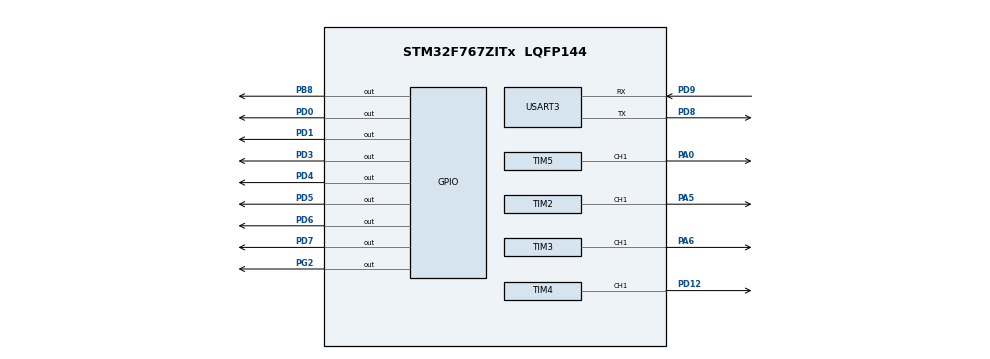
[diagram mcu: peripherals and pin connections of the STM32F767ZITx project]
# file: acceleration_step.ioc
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CORTEX_M7.default_mode_Activation=1
FREERTOS.Tasks01=defaultTask,24,128,StartDefaultTask,Default,NULL,Dynamic,NULL,NULL;myTask02,24,128,StartTask02,Default,NULL,Dynamic,NULL,NULL
FREERTOS.configUSE_NEWLIB_REENTRANT=1
Mcu.Family=STM32F7
Mcu.Name=STM32F767ZITx
Mcu.Package=LQFP144
NVIC.PriorityGroup=NVIC_PRIORITYGROUP_4
NVIC.TIM2_IRQn=true\:5\:0\:false\:false\:true\:true\:true\:true\:true
NVIC.TIM3_IRQn=true\:5\:0\:false\:false\:true\:true\:true\:true\:true
NVIC.TIM4_IRQn=true\:5\:0\:false\:false\:true\:true\:true\:true\:true
NVIC.TIM5_IRQn=true\:5\:0\:false\:false\:true\:true\:true\:true\:true
NVIC.TIM6_DAC_IRQn=true\:15\:0\:false\:false\:true\:false\:false\:true\:true
NVIC.TimeBase=TIM6_DAC_IRQn
NVIC.TimeBaseIP=TIM6
NVIC.USART3_IRQn=true\:5\:0\:false\:false\:true\:true\:true\:true\:true
PA0/WKUP.Signal=S_TIM5_CH1
PA5.Signal=S_TIM2_CH1_ETR
PA6.Signal=S_TIM3_CH1
PB8.GPIO_PuPd=GPIO_PULLUP
PB8.GPIO_Speed=GPIO_SPEED_FREQ_HIGH
PB8.Signal=GPIO_Output
PD0.GPIO_PuPd=GPIO_PULLUP
PD0.GPIO_Speed=GPIO_SPEED_FREQ_HIGH
PD0.Signal=GPIO_Output
PD1.GPIO_PuPd=GPIO_PULLUP
PD1.GPIO_Speed=GPIO_SPEED_FREQ_HIGH
PD1.Signal=GPIO_Output
PD12.Signal=S_TIM4_CH1
PD3.GPIO_PuPd=GPIO_PULLUP
PD3.GPIO_Speed=GPIO_SPEED_FREQ_HIGH
PD3.Signal=GPIO_Output
PD4.GPIO_PuPd=GPIO_PULLUP
PD4.GPIO_Speed=GPIO_SPEED_FREQ_HIGH
PD4.Signal=GPIO_Output
PD5.GPIO_PuPd=GPIO_PULLUP
PD5.GPIO_Speed=GPIO_SPEED_FREQ_HIGH
PD5.Signal=GPIO_Output
PD6.GPIO_PuPd=GPIO_PULLUP
PD6.GPIO_Speed=GPIO_SPEED_FREQ_HIGH
PD6.Signal=GPIO_Output
PD7.GPIO_PuPd=GPIO_PULLUP
PD7.GPIO_Speed=GPIO_SPEED_FREQ_HIGH
PD7.Signal=GPIO_Output
PD8.Mode=Asynchronous
PD8.Signal=USART3_TX
PD9.Mode=Asynchronous
PD9.Signal=USART3_RX
PG2.Signal=GPIO_Output
ProjectManager.HeapSize=0x200
ProjectManager.StackSize=0x400
ProjectManager.TargetToolchain=STM32CubeIDE
RCC.HSE_VALUE=25000000
RCC.HSI_VALUE=16000000
RCC.LSE_VALUE=32768
RCC.USBFreq_Value=96000000
RCC.VCOOutputFreq_Value=192000000
SH.S_TIM2_CH1_ETR.0=TIM2_CH1,PWM Generation1 CH1
SH.S_TIM3_CH1.0=TIM3_CH1,PWM Generation1 CH1
SH.S_TIM4_CH1.0=TIM4_CH1,PWM Generation1 CH1
SH.S_TIM5_CH1.0=TIM5_CH1,PWM Generation1 CH1
TIM2.Channel-PWM\ Generation1\ CH1=TIM_CHANNEL_1
TIM2.Period=1999
TIM2.Prescaler=15
TIM2.Pulse-PWM\ Generation1\ CH1=999
TIM3.Channel-PWM\ Generation1\ CH1=TIM_CHANNEL_1
TIM3.Period=1999
TIM3.Prescaler=15
TIM3.Pulse-PWM\ Generation1\ CH1=999
TIM4.Channel-PWM\ Generation1\ CH1=TIM_CHANNEL_1
TIM4.Period=1999
TIM4.Prescaler=15
TIM4.Pulse-PWM\ Generation1\ CH1=999
TIM5.Channel-PWM\ Generation1\ CH1=TIM_CHANNEL_1
TIM5.Period=1999
TIM5.Prescaler=15
TIM5.Pulse-PWM\ Generation1\ CH1=999
TIM5.TIM_MasterSlaveMode=TIM_MASTERSLAVEMODE_DISABLE
USART3.VirtualMode-Asynchronous=VM_ASYNC
VP_FREERTOS_VS_CMSIS_V2.Mode=CMSIS_V2
VP_SYS_VS_tim6.Mode=TIM6
VP_TIM2_VS_ClockSourceINT.Mode=Internal
VP_TIM3_VS_ClockSourceINT.Mode=Internal
VP_TIM4_VS_ClockSourceINT.Mode=Internal
VP_TIM5_VS_ClockSourceINT.Mode=Internal
board=custom

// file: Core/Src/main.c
/* USER CODE BEGIN Header */
/**
  ******************************************************************************
  * @file           : main.c
  * @brief          : Main program body
  ******************************************************************************
  * @attention
  *
  * Copyright (c) 2026 STMicroelectronics.
  * All rights reserved.
  *
  * This software is licensed under terms that can be found in the LICENSE file
  * in the root directory of this software component.
  * If no LICENSE file comes with this software, it is provided AS-IS.
  *
  ******************************************************************************
  */
/* USER CODE END Header */
#include "main.h"
#include "cmsis_os.h"

/* USER CODE BEGIN Includes */
#include "stdio.h"
/* USER CODE END Includes */

/* USER CODE BEGIN PTD */
//typedef struct {
//    uint32_t arr_slow;     // 시작(저속) ARR
//    uint32_t arr_fast;     // 최대(고속) ARR
//    uint32_t ramp_steps;   // 가속/감속에 쓸 스텝 수
//    uint32_t total_steps;  // 이번 이동 총 스텝
//    uint32_t arr_cur;      // 현재 ARR
//} Ramp_t;
typedef struct {
    uint32_t arr_slow;
    uint32_t arr_fast;
    uint32_t ramp_steps;

    uint32_t total_steps;
    uint32_t arr_cur;

    uint32_t diff;         // slow-fast
    uint32_t slope_q16;    // (diff<<16)/R  : 이동 시작 시 1회 계산
} Ramp_t;
/* USER CODE END PTD */

/* USER CODE BEGIN PD */
#define STEPS_PER_REV   (1600U)

#define BELT_PITCH_MM        (3.0f)    // GT2면 2.0mm
#define PULLEY_TEETH         (20.0f)   // 예: 20T, 30T 등
/* USER CODE END PD */

TIM_HandleTypeDef htim2;
TIM_HandleTypeDef htim3;
TIM_HandleTypeDef htim4;
TIM_HandleTypeDef htim5;

UART_HandleTypeDef huart3;

/* Definitions for defaultTask */
osThreadId_t defaultTaskHandle;
const osThreadAttr_t defaultTask_attributes = {
  .name = "defaultTask",
  .stack_size = 128 * 4,
  .priority = (osPriority_t) osPriorityNormal,
};
/* Definitions for myTask02 */
osThreadId_t myTask02Handle;
const osThreadAttr_t myTask02_attributes = {
  .name = "myTask02",
  .stack_size = 128 * 4,
  .priority = (osPriority_t) osPriorityNormal,
};
/* USER CODE BEGIN PV */
volatile uint32_t step_count_tim2 = 0;
volatile uint32_t step_count_tim3 = 0;
volatile uint32_t step_count_tim4 = 0;
volatile uint32_t step_count_tim5 = 0;

volatile uint32_t step_target_tim2 = 0;
volatile uint32_t step_target_tim3 = 0;
volatile uint32_t step_target_tim4 = 0;
volatile uint32_t step_target_tim5 = 0;

volatile uint8_t  tim2_running = 0;
volatile uint8_t  tim3_running = 0;
volatile uint8_t  tim4_running = 0;
volatile uint8_t  tim5_running = 0;

// 현재 좌표 저장 및 이동 플래그
volatile int32_t cur_x_mm = 0;
volatile int32_t cur_y_mm = 0;
volatile int32_t cur_z_mm = 0;

volatile int32_t pending_dx_mm = 0;
volatile int32_t pending_dy_mm = 0;
volatile int32_t pending_dz_mm = 0;

volatile uint8_t move_in_progress = 0;

/*가속을 위한 변수*/
volatile Ramp_t ramp_x = { .arr_slow=1999, .arr_fast=199, .ramp_steps=400 }; // 249, 400
volatile Ramp_t ramp_y = { .arr_slow=1999, .arr_fast=199, .ramp_steps=400 };
volatile Ramp_t ramp_z = { .arr_slow=1999, .arr_fast=199, .ramp_steps=400 };

// UART 좌표 통신 =======================================
static uint8_t  rx_ch;

static char     rx_line[64];
static uint32_t rx_idx = 0;

/* 파싱된 좌표 전달용 */
volatile int32_t uart_x, uart_y, uart_z;
volatile uint8_t uart_cmd_ready = 0;
/* USER CODE END PV */

void SystemClock_Config(void);
static void MPU_Config(void);
static void MX_GPIO_Init(void);
static void MX_TIM2_Init(void);
static void MX_TIM3_Init(void);
static void MX_TIM4_Init(void);
static void MX_TIM5_Init(void);
static void MX_USART3_UART_Init(void);
void StartDefaultTask(void *argument);
void StartTask02(void *argument);

/* USER CODE BEGIN PFP */
static inline uint32_t mm_to_steps(float mm);

static void start_x_move_mm(int32_t dx_mm);
static void start_y_move_mm(int32_t dy_mm);
static void start_z_move_mm(int32_t dz_mm);

static void update_motion_done(void);

void MoveToXYZ_mm(int32_t x_mm, int32_t y_mm, int32_t z_mm);

// 가속 함수
static inline void tim_set_arr_ccr50(TIM_HandleTypeDef *htim, uint32_t arr);
static inline void ramp_update(volatile Ramp_t *r, uint32_t step_now, TIM_HandleTypeDef *htim);

// 최적화
static inline void ramp_prepare(volatile Ramp_t *r, uint32_t total_steps);
static inline void ramp_update_fast(volatile Ramp_t *r, uint32_t step_now, TIM_HandleTypeDef *htim);
//static inline void motion_finish_if_all_done_from_isr(void);

/* USER CODE END PFP */

int main(void)
{

  /* MPU Configuration--------------------------------------------------------*/
  MPU_Config();

  /* MCU Configuration--------------------------------------------------------*/

  /* Reset of all peripherals, Initializes the Flash interface and the Systick. */
  HAL_Init();

  /* Configure the system clock */
  SystemClock_Config();

  /* Initialize all configured peripherals */
  MX_GPIO_Init();
  MX_TIM2_Init();
  MX_TIM3_Init();
  MX_TIM4_Init();
  MX_TIM5_Init();
  MX_USART3_UART_Init();
  /* USER CODE BEGIN 2 */
  HAL_UART_Receive_IT(&huart3, &rx_ch, 1);
  // Y1
  HAL_GPIO_WritePin(GPIOD, GPIO_PIN_0, GPIO_PIN_RESET);  // ena
  // Y2
  HAL_GPIO_WritePin(GPIOG, GPIO_PIN_2, GPIO_PIN_RESET);  // ena
  // X
  HAL_GPIO_WritePin(GPIOD, GPIO_PIN_4, GPIO_PIN_RESET);  // ena
  // Z
  HAL_GPIO_WritePin(GPIOD, GPIO_PIN_6, GPIO_PIN_RESET);  // ena

  /* USER CODE END 2 */

  /* Init scheduler */
  osKernelInitialize();

  /* Create the thread(s) */
  /* creation of defaultTask */
  defaultTaskHandle = osThreadNew(StartDefaultTask, NULL, &defaultTask_attributes);

  /* creation of myTask02 */
  myTask02Handle = osThreadNew(StartTask02, NULL, &myTask02_attributes);

  /* Start scheduler */
  osKernelStart();

  /* We should never get here as control is now taken by the scheduler */

  /* Infinite loop */
  while (1)
  {

  }
}

void SystemClock_Config(void)
{
  RCC_OscInitTypeDef RCC_OscInitStruct = {0};
  RCC_ClkInitTypeDef RCC_ClkInitStruct = {0};

  /** Configure the main internal regulator output voltage
  */
  __HAL_RCC_PWR_CLK_ENABLE();
  __HAL_PWR_VOLTAGESCALING_CONFIG(PWR_REGULATOR_VOLTAGE_SCALE3);

  /** Initializes the RCC Oscillators according to the specified parameters
  * in the RCC_OscInitTypeDef structure.
  */
  RCC_OscInitStruct.OscillatorType = RCC_OSCILLATORTYPE_HSI;
  RCC_OscInitStruct.HSIState = RCC_HSI_ON;
  RCC_OscInitStruct.HSICalibrationValue = RCC_HSICALIBRATION_DEFAULT;
  RCC_OscInitStruct.PLL.PLLState = RCC_PLL_NONE;
  if (HAL_RCC_OscConfig(&RCC_OscInitStruct) != HAL_OK)
  {
    Error_Handler();
  }

  /** Initializes the CPU, AHB and APB buses clocks
  */
  RCC_ClkInitStruct.ClockType = RCC_CLOCKTYPE_HCLK|RCC_CLOCKTYPE_SYSCLK
                              |RCC_CLOCKTYPE_PCLK1|RCC_CLOCKTYPE_PCLK2;
  RCC_ClkInitStruct.SYSCLKSource = RCC_SYSCLKSOURCE_HSI;
  RCC_ClkInitStruct.AHBCLKDivider = RCC_SYSCLK_DIV1;
  RCC_ClkInitStruct.APB1CLKDivider = RCC_HCLK_DIV1;
  RCC_ClkInitStruct.APB2CLKDivider = RCC_HCLK_DIV1;

  if (HAL_RCC_ClockConfig(&RCC_ClkInitStruct, FLASH_LATENCY_0) != HAL_OK)
  {
    Error_Handler();
  }
}

static void MX_TIM2_Init(void)
{

  TIM_ClockConfigTypeDef sClockSourceConfig = {0};
  TIM_MasterConfigTypeDef sMasterConfig = {0};
  TIM_OC_InitTypeDef sConfigOC = {0};

  htim2.Instance = TIM2;
  htim2.Init.Prescaler = 15;
  htim2.Init.CounterMode = TIM_COUNTERMODE_UP;
  htim2.Init.Period = 1999;
  htim2.Init.ClockDivision = TIM_CLOCKDIVISION_DIV1;
  htim2.Init.AutoReloadPreload = TIM_AUTORELOAD_PRELOAD_DISABLE;
  if (HAL_TIM_Base_Init(&htim2) != HAL_OK)
  {
    Error_Handler();
  }
  sClockSourceConfig.ClockSource = TIM_CLOCKSOURCE_INTERNAL;
  if (HAL_TIM_ConfigClockSource(&htim2, &sClockSourceConfig) != HAL_OK)
  {
    Error_Handler();
  }
  if (HAL_TIM_PWM_Init(&htim2) != HAL_OK)
  {
    Error_Handler();
  }
  sMasterConfig.MasterOutputTrigger = TIM_TRGO_RESET;
  sMasterConfig.MasterSlaveMode = TIM_MASTERSLAVEMODE_DISABLE;
  if (HAL_TIMEx_MasterConfigSynchronization(&htim2, &sMasterConfig) != HAL_OK)
  {
    Error_Handler();
  }
  sConfigOC.OCMode = TIM_OCMODE_PWM1;
  sConfigOC.Pulse = 999;
  sConfigOC.OCPolarity = TIM_OCPOLARITY_HIGH;
  sConfigOC.OCFastMode = TIM_OCFAST_DISABLE;
  if (HAL_TIM_PWM_ConfigChannel(&htim2, &sConfigOC, TIM_CHANNEL_1) != HAL_OK)
  {
    Error_Handler();
  }
  HAL_TIM_MspPostInit(&htim2);

}

static void MX_TIM3_Init(void)
{

  TIM_ClockConfigTypeDef sClockSourceConfig = {0};
  TIM_MasterConfigTypeDef sMasterConfig = {0};
  TIM_OC_InitTypeDef sConfigOC = {0};

  htim3.Instance = TIM3;
  htim3.Init.Prescaler = 15;
  htim3.Init.CounterMode = TIM_COUNTERMODE_UP;
  htim3.Init.Period = 1999;
  htim3.Init.ClockDivision = TIM_CLOCKDIVISION_DIV1;
  htim3.Init.AutoReloadPreload = TIM_AUTORELOAD_PRELOAD_DISABLE;
  if (HAL_TIM_Base_Init(&htim3) != HAL_OK)
  {
    Error_Handler();
  }
  sClockSourceConfig.ClockSource = TIM_CLOCKSOURCE_INTERNAL;
  if (HAL_TIM_ConfigClockSource(&htim3, &sClockSourceConfig) != HAL_OK)
  {
    Error_Handler();
  }
  if (HAL_TIM_PWM_Init(&htim3) != HAL_OK)
  {
    Error_Handler();
  }
  sMasterConfig.MasterOutputTrigger = TIM_TRGO_RESET;
  sMasterConfig.MasterSlaveMode = TIM_MASTERSLAVEMODE_DISABLE;
  if (HAL_TIMEx_MasterConfigSynchronization(&htim3, &sMasterConfig) != HAL_OK)
  {
    Error_Handler();
  }
  sConfigOC.OCMode = TIM_OCMODE_PWM1;
  sConfigOC.Pulse = 999;
  sConfigOC.OCPolarity = TIM_OCPOLARITY_HIGH;
  sConfigOC.OCFastMode = TIM_OCFAST_DISABLE;
  if (HAL_TIM_PWM_ConfigChannel(&htim3, &sConfigOC, TIM_CHANNEL_1) != HAL_OK)
  {
    Error_Handler();
  }
  HAL_TIM_MspPostInit(&htim3);

}

static void MX_TIM4_Init(void)
{

  TIM_ClockConfigTypeDef sClockSourceConfig = {0};
  TIM_MasterConfigTypeDef sMasterConfig = {0};
  TIM_OC_InitTypeDef sConfigOC = {0};

  htim4.Instance = TIM4;
  htim4.Init.Prescaler = 15;
  htim4.Init.CounterMode = TIM_COUNTERMODE_UP;
  htim4.Init.Period = 1999;
  htim4.Init.ClockDivision = TIM_CLOCKDIVISION_DIV1;
  htim4.Init.AutoReloadPreload = TIM_AUTORELOAD_PRELOAD_DISABLE;
  if (HAL_TIM_Base_Init(&htim4) != HAL_OK)
  {
    Error_Handler();
  }
  sClockSourceConfig.ClockSource = TIM_CLOCKSOURCE_INTERNAL;
  if (HAL_TIM_ConfigClockSource(&htim4, &sClockSourceConfig) != HAL_OK)
  {
    Error_Handler();
  }
  if (HAL_TIM_PWM_Init(&htim4) != HAL_OK)
  {
    Error_Handler();
  }
  sMasterConfig.MasterOutputTrigger = TIM_TRGO_RESET;
  sMasterConfig.MasterSlaveMode = TIM_MASTERSLAVEMODE_DISABLE;
  if (HAL_TIMEx_MasterConfigSynchronization(&htim4, &sMasterConfig) != HAL_OK)
  {
    Error_Handler();
  }
  sConfigOC.OCMode = TIM_OCMODE_PWM1;
  sConfigOC.Pulse = 999;
  sConfigOC.OCPolarity = TIM_OCPOLARITY_HIGH;
  sConfigOC.OCFastMode = TIM_OCFAST_DISABLE;
  if (HAL_TIM_PWM_ConfigChannel(&htim4, &sConfigOC, TIM_CHANNEL_1) != HAL_OK)
  {
    Error_Handler();
  }
  HAL_TIM_MspPostInit(&htim4);

}

static void MX_TIM5_Init(void)
{

  TIM_ClockConfigTypeDef sClockSourceConfig = {0};
  TIM_MasterConfigTypeDef sMasterConfig = {0};
  TIM_OC_InitTypeDef sConfigOC = {0};

  htim5.Instance = TIM5;
  htim5.Init.Prescaler = 15;
  htim5.Init.CounterMode = TIM_COUNTERMODE_UP;
  htim5.Init.Period = 1999;
  htim5.Init.ClockDivision = TIM_CLOCKDIVISION_DIV1;
  htim5.Init.AutoReloadPreload = TIM_AUTORELOAD_PRELOAD_DISABLE;
  if (HAL_TIM_Base_Init(&htim5) != HAL_OK)
  {
    Error_Handler();
  }
  sClockSourceConfig.ClockSource = TIM_CLOCKSOURCE_INTERNAL;
  if (HAL_TIM_ConfigClockSource(&htim5, &sClockSourceConfig) != HAL_OK)
  {
    Error_Handler();
  }
  if (HAL_TIM_PWM_Init(&htim5) != HAL_OK)
  {
    Error_Handler();
  }
  sMasterConfig.MasterOutputTrigger = TIM_TRGO_RESET;
  sMasterConfig.MasterSlaveMode = TIM_MASTERSLAVEMODE_DISABLE;
  if (HAL_TIMEx_MasterConfigSynchronization(&htim5, &sMasterConfig) != HAL_OK)
  {
    Error_Handler();
  }
  sConfigOC.OCMode = TIM_OCMODE_PWM1;
  sConfigOC.Pulse = 999;
  sConfigOC.OCPolarity = TIM_OCPOLARITY_HIGH;
  sConfigOC.OCFastMode = TIM_OCFAST_DISABLE;
  if (HAL_TIM_PWM_ConfigChannel(&htim5, &sConfigOC, TIM_CHANNEL_1) != HAL_OK)
  {
    Error_Handler();
  }
  HAL_TIM_MspPostInit(&htim5);

}

static void MX_USART3_UART_Init(void)
{

  huart3.Instance = USART3;
  huart3.Init.BaudRate = 115200;
  huart3.Init.WordLength = UART_WORDLENGTH_8B;
  huart3.Init.StopBits = UART_STOPBITS_1;
  huart3.Init.Parity = UART_PARITY_NONE;
  huart3.Init.Mode = UART_MODE_TX_RX;
  huart3.Init.HwFlowCtl = UART_HWCONTROL_NONE;
  huart3.Init.OverSampling = UART_OVERSAMPLING_16;
  huart3.Init.OneBitSampling = UART_ONE_BIT_SAMPLE_DISABLE;
  huart3.AdvancedInit.AdvFeatureInit = UART_ADVFEATURE_NO_INIT;
  if (HAL_UART_Init(&huart3) != HAL_OK)
  {
    Error_Handler();
  }

}

static void MX_GPIO_Init(void)
{
  GPIO_InitTypeDef GPIO_InitStruct = {0};

  /* GPIO Ports Clock Enable */
  __HAL_RCC_GPIOA_CLK_ENABLE();
  __HAL_RCC_GPIOD_CLK_ENABLE();
  __HAL_RCC_GPIOG_CLK_ENABLE();
  __HAL_RCC_GPIOB_CLK_ENABLE();

  /*Configure GPIO pin Output Level */
  HAL_GPIO_WritePin(GPIOG, GPIO_PIN_2, GPIO_PIN_RESET);

  /*Configure GPIO pin Output Level */
  HAL_GPIO_WritePin(GPIOD, GPIO_PIN_0|GPIO_PIN_1|GPIO_PIN_3|GPIO_PIN_4
                          |GPIO_PIN_5|GPIO_PIN_6|GPIO_PIN_7, GPIO_PIN_RESET);

  /*Configure GPIO pin Output Level */
  HAL_GPIO_WritePin(GPIOB, GPIO_PIN_8, GPIO_PIN_RESET);

  /*Configure GPIO pin : PG2 */
  GPIO_InitStruct.Pin = GPIO_PIN_2;
  GPIO_InitStruct.Mode = GPIO_MODE_OUTPUT_PP;
  GPIO_InitStruct.Pull = GPIO_NOPULL;
  GPIO_InitStruct.Speed = GPIO_SPEED_FREQ_LOW;
  HAL_GPIO_Init(GPIOG, &GPIO_InitStruct);

  /*Configure GPIO pins : PD0 PD1 PD3 PD4
                           PD5 PD6 PD7 */
  GPIO_InitStruct.Pin = GPIO_PIN_0|GPIO_PIN_1|GPIO_PIN_3|GPIO_PIN_4
                          |GPIO_PIN_5|GPIO_PIN_6|GPIO_PIN_7;
  GPIO_InitStruct.Mode = GPIO_MODE_OUTPUT_PP;
  GPIO_InitStruct.Pull = GPIO_PULLUP;
  GPIO_InitStruct.Speed = GPIO_SPEED_FREQ_HIGH;
  HAL_GPIO_Init(GPIOD, &GPIO_InitStruct);

  /*Configure GPIO pin : PB8 */
  GPIO_InitStruct.Pin = GPIO_PIN_8;
  GPIO_InitStruct.Mode = GPIO_MODE_OUTPUT_PP;
  GPIO_InitStruct.Pull = GPIO_PULLUP;
  GPIO_InitStruct.Speed = GPIO_SPEED_FREQ_HIGH;
  HAL_GPIO_Init(GPIOB, &GPIO_InitStruct);

}

/* USER CODE BEGIN 4 */
// mm 최적화
//static inline uint32_t mm_to_steps_u32(uint32_t mm_u32)
//{
//    const float mm_per_rev   = (BELT_PITCH_MM * PULLEY_TEETH);
//    const float steps_per_mm = ((float)STEPS_PER_REV) / mm_per_rev;
//
//    float steps_f = (float)mm_u32 * steps_per_mm;
//    uint32_t steps = (uint32_t)(steps_f + 0.5f);
//    return (steps == 0U) ? 1U : steps;
//}

/* 이동 완료 체크 + 좌표 갱신은 Task에서 폴링해서 처리 */
static void update_motion_done(void)
{
	if (!move_in_progress) return;

	// X: TIM4, Y: TIM3+TIM5 모두 끝났는지
	if ((tim2_running == 0) && (tim3_running == 0) && (tim4_running == 0) && (tim5_running == 0))
	{
		cur_x_mm += pending_dx_mm;
		cur_y_mm += pending_dy_mm;
		cur_z_mm += pending_dz_mm;

		pending_dx_mm = 0;
		pending_dy_mm = 0;
		pending_dz_mm = 0;

		move_in_progress = 0;
	}
}

/* x,y 좌표 자유롭게 이동*/
static inline uint32_t mm_to_steps(float mm)
{
    const float mm_per_rev   = (BELT_PITCH_MM * PULLEY_TEETH);
    const float steps_per_mm = ((float)STEPS_PER_REV) / mm_per_rev;
    float steps_f = mm * steps_per_mm;

    uint32_t steps = (uint32_t)(steps_f + 0.5f);
    if (steps == 0) steps = 1;
    return steps;
}

// ---- x축 구동: TIM4
static void start_x_move_mm(int32_t dx_mm)
{
	HAL_TIM_Base_Stop_IT(&htim4);
	HAL_TIM_PWM_Stop(&htim4, TIM_CHANNEL_1);
    if (dx_mm == 0) {
        tim4_running = 0;

        return;
    }

    uint32_t adx = (dx_mm >= 0) ? (uint32_t)dx_mm : (uint32_t)(-dx_mm);
    uint32_t steps = mm_to_steps((float)adx);
    step_target_tim4 = steps;

    step_count_tim4 = 0;
    tim4_running = 1;

    if (dx_mm > 0) {
        // ===== X+ (오른쪽) =====
        // 너가 말한 규칙: X+는 PD1 = SET
        HAL_GPIO_WritePin(GPIOD, GPIO_PIN_5, GPIO_PIN_SET);  // dir
    } else {
        // ===== X- (왼쪽) =====
        HAL_GPIO_WritePin(GPIOD, GPIO_PIN_5, GPIO_PIN_RESET);  // dir
    }

//    ramp_x.total_steps = steps;
//    ramp_x.arr_cur     = ramp_x.arr_slow;
    ramp_prepare(&ramp_x, steps);
    tim_set_arr_ccr50(&htim4, ramp_x.arr_cur);

    HAL_TIM_PWM_Start(&htim4, TIM_CHANNEL_1);
    HAL_TIM_Base_Start_IT(&htim4);
}

// ---- Y축 구동: TIM3 + TIM5 ----
static void start_y_move_mm(int32_t dy_mm)
{
    if (dy_mm == 0) {
        tim3_running = 0;
        tim5_running = 0;

        HAL_TIM_Base_Stop_IT(&htim3);
		HAL_TIM_PWM_Stop(&htim3, TIM_CHANNEL_1);
		HAL_TIM_Base_Stop_IT(&htim5);
		HAL_TIM_PWM_Stop(&htim5, TIM_CHANNEL_1);
        return;
    }

    uint32_t ady = (dy_mm >= 0) ? (uint32_t)dy_mm : (uint32_t)(-dy_mm);
    uint32_t steps = mm_to_steps((float)ady);
    step_target_tim3 = steps;
    step_target_tim5 = steps;

    step_count_tim3 = 0;
    step_count_tim5 = 0;

    tim3_running = 1;
    tim5_running = 1;

    if (dy_mm > 0) {
        // ===== Y+ (위쪽) =====
        // 너가 말한 규칙: Y+는 PD5=SET, PD6=SET
        HAL_GPIO_WritePin(GPIOD, GPIO_PIN_1, GPIO_PIN_SET);  // dir
        HAL_GPIO_WritePin(GPIOD, GPIO_PIN_3, GPIO_PIN_SET);  // dir

    } else {
        // ===== Y- (아래쪽) =====
        HAL_GPIO_WritePin(GPIOD, GPIO_PIN_1, GPIO_PIN_RESET);  // dir
        HAL_GPIO_WritePin(GPIOD, GPIO_PIN_3, GPIO_PIN_RESET);  // dir
    }

//    ramp_y.total_steps = steps;
//    ramp_y.arr_cur     = ramp_y.arr_slow;

    ramp_prepare(&ramp_y, steps);

    // 둘 다 동일 ARR 적용
    tim_set_arr_ccr50(&htim3, ramp_y.arr_cur);
    tim_set_arr_ccr50(&htim5, ramp_y.arr_cur);

    HAL_TIM_PWM_Start(&htim3, TIM_CHANNEL_1);
    HAL_TIM_Base_Start_IT(&htim3);

    HAL_TIM_PWM_Start(&htim5, TIM_CHANNEL_1);
    HAL_TIM_Base_Start_IT(&htim5);
}

// ---- Z축 구동: TIM2 ----
static void start_z_move_mm(int32_t dz_mm)
{
    // 안전하게 재시작
    HAL_TIM_Base_Stop_IT(&htim2);
    HAL_TIM_PWM_Stop(&htim2, TIM_CHANNEL_1);

    if (dz_mm == 0) {
        tim2_running = 0;
        return;
    }

    uint32_t adz = (dz_mm >= 0) ? (uint32_t)dz_mm : (uint32_t)(-dz_mm);
    uint32_t steps = mm_to_steps((float)adz);
    step_target_tim2 = steps;

    step_count_tim2 = 0;
    tim2_running = 1;

    // 요구사항: +방향 SET, -방향 RESET
    if (dz_mm > 0) {
        HAL_GPIO_WritePin(GPIOD, GPIO_PIN_7, GPIO_PIN_SET);    // Z+
    } else {
        HAL_GPIO_WritePin(GPIOD, GPIO_PIN_7, GPIO_PIN_RESET);  // Z-
    }

//    ramp_z.total_steps = steps;
//    ramp_z.arr_cur     = ramp_z.arr_slow;

    ramp_prepare(&ramp_z, steps);
    tim_set_arr_ccr50(&htim2, ramp_z.arr_cur);

    HAL_TIM_PWM_Start(&htim2, TIM_CHANNEL_1);
    HAL_TIM_Base_Start_IT(&htim2);
}

void MoveToXYZ_mm(int32_t x_mm, int32_t y_mm, int32_t z_mm)
{
    if (move_in_progress) return;

    int32_t dx_mm = x_mm - cur_x_mm;
    int32_t dy_mm = y_mm - cur_y_mm;
    int32_t dz_mm = z_mm - cur_z_mm;

    pending_dx_mm = dx_mm;
    pending_dy_mm = dy_mm;
    pending_dz_mm = dz_mm;

    move_in_progress = 1;

    start_x_move_mm(dx_mm);
    start_y_move_mm(dy_mm);
    start_z_move_mm(dz_mm);

    update_motion_done();	// task1 방식일 때 주석 해제, task2일때 주석 처리
}

// 가속 함수
static inline void tim_set_arr_ccr50(TIM_HandleTypeDef *htim, uint32_t arr)
{
    __HAL_TIM_SET_AUTORELOAD(htim, arr);
    __HAL_TIM_SET_COMPARE(htim, TIM_CHANNEL_1, arr/2); // 50% 듀티
//    __HAL_TIM_SET_COUNTER(htim, 0);  // 위상 튐 현상 발생할 수 있기 떄문에 주석 처리
}

static inline void ramp_update(volatile Ramp_t *r, uint32_t step_now, TIM_HandleTypeDef *htim)
{
    const uint32_t N = r->total_steps;
    if (N == 0) return;

    uint32_t R = r->ramp_steps;
    if (R > 0 && N <= (2U * R)) R = N / 2U;  // 삼각 프로파일

    if (R == 0U) {
        if (r->arr_cur != r->arr_fast) {
            r->arr_cur = r->arr_fast;
            tim_set_arr_ccr50(htim, r->arr_cur);
        }
        return;
    }

    uint32_t s = step_now;
    uint32_t arr;

    if (s <= R) {
    	// 가속: slow -> fast (ARR 감소)
    	uint64_t num = (uint64_t)(r->arr_slow - r->arr_fast) * (uint64_t)s;
    	arr = r->arr_slow - (uint32_t)(num / R);
    } else if (s >= (N - R)) {
    	// 감속: fast -> slow
    	uint32_t k = N - s;
    	uint64_t num = (uint64_t)(r->arr_slow - r->arr_fast) * (uint64_t)k;
    	arr = r->arr_slow - (uint32_t)(num / R);
    } else { // 정속
    	arr = r->arr_fast;
    }

    if (arr != r->arr_cur) {
        r->arr_cur = arr;
        tim_set_arr_ccr50(htim, arr);
    }
}

// ====== 램프 준비: 이동 시작 시 1회만 계산 ======
static inline void ramp_prepare(volatile Ramp_t *r, uint32_t total_steps)
{
    r->total_steps = total_steps;
    r->arr_cur     = r->arr_slow;

    // diff = slow - fast (ARR 감소가 가속)
    r->diff = (r->arr_slow > r->arr_fast) ? (r->arr_slow - r->arr_fast) : 0U;

    // 삼각 프로파일 처리: N <= 2R 이면 R_eff = N/2
    uint32_t R_eff = r->ramp_steps;
    if (R_eff > 0U && total_steps <= (2U * R_eff)) {
        R_eff = total_steps / 2U;
    }

    // R_eff가 0이면 slope=0
    if (R_eff == 0U || r->diff == 0U) {
        r->slope_q16 = 0U;
        return;
    }

    // (diff<<16)/R_eff : 여기서만 나눗셈 1회
    r->slope_q16 = (uint32_t)(((uint64_t)r->diff << 16) / (uint64_t)R_eff);
}

// ====== 램프 업데이트(고속): ISR에서 호출, 나눗셈 없음 ======
static inline void ramp_update_fast(volatile Ramp_t *r, uint32_t step_now, TIM_HandleTypeDef *htim)
{
    const uint32_t N = r->total_steps;
    if (N == 0U) return;

    // slope가 0이면(=R_eff 0이거나 diff 0), 그냥 fast로 고정
    if (r->slope_q16 == 0U) {
        if (r->arr_cur != r->arr_fast) {
            r->arr_cur = r->arr_fast;
            tim_set_arr_ccr50(htim, r->arr_cur);
        }
        return;
    }

    // 다시 R_eff 계산(여긴 나눗셈 없음)
    uint32_t R_eff = r->ramp_steps;
    if (R_eff > 0U && N <= (2U * R_eff)) {
        R_eff = N / 2U;
    }
    if (R_eff == 0U) {
        // 극단 케이스
        if (r->arr_cur != r->arr_fast) {
            r->arr_cur = r->arr_fast;
            tim_set_arr_ccr50(htim, r->arr_cur);
        }
        return;
    }

    uint32_t s = step_now;
    uint32_t arr;

    if (s <= R_eff) {
        // 가속: slow -> fast
        uint32_t dec = (uint32_t)(((uint64_t)s * (uint64_t)r->slope_q16) >> 16);
        arr = r->arr_slow - dec;
    } else if (s >= (N - R_eff)) {
        // 감속: fast -> slow
        uint32_t k = N - s;
        uint32_t dec = (uint32_t)(((uint64_t)k * (uint64_t)r->slope_q16) >> 16);
        arr = r->arr_slow - dec;
    } else {
        // 정속
        arr = r->arr_fast;
    }

    if (arr != r->arr_cur) {
        r->arr_cur = arr;
        tim_set_arr_ccr50(htim, arr);
    }
}

void HAL_UART_RxCpltCallback(UART_HandleTypeDef *huart)
{
    if (huart->Instance == huart3.Instance) // 또는 huart->Instance == USART1 이런 식
    {
        char c = (char)rx_ch;

        if (c == '\r') {
            // ignore
        }
        else if (c == '\n')
        {
            rx_line[rx_idx] = '\0';
            rx_idx = 0;

            // 여기서 파싱은 "가볍게"만 하고, 실제 MoveTo는 Task에서 처리 권장
            int32_t x,y,z;
            // 포맷: G x y z
            if (sscanf(rx_line, "G %ld %ld %ld", &x, &y, &z) == 3)
            {
                uart_x = x; uart_y = y; uart_z = z;
                uart_cmd_ready = 1;
            }
        }
        else
        {
            if (rx_idx < (sizeof(rx_line) - 1)) {
                rx_line[rx_idx++] = c;
            } else {
                // overflow 방지: 리셋
                rx_idx = 0;
            }
        }

        // 다음 바이트 재수신
        HAL_UART_Receive_IT(&huart3, &rx_ch, 1);
    }
}
/* USER CODE END 4 */

void StartDefaultTask(void *argument)
{
  /* USER CODE BEGIN 5 */
  /* Infinite loop */
  for(;;)
  {
//	  MoveToXYZ_mm(10, 10, 10);
//	  while (move_in_progress) { update_motion_done(); osDelay(1); }
//	  osDelay(1000);
//
//	  MoveToXYZ_mm(200, 300, 200);
//	  while (move_in_progress) { update_motion_done(); osDelay(1); }
//	  osDelay(1000);
//
//	  MoveToXYZ_mm(150, 200, 100);
//	  while (move_in_progress) { update_motion_done(); osDelay(1); }
//	  osDelay(2000);

	  HAL_GPIO_WritePin(GPIOB, GPIO_PIN_8, GPIO_PIN_SET);	// pump off
	  osDelay(3000);	// 3초 대기

	  MoveToXYZ_mm(0, 100, 20);	// 시작
	  while (move_in_progress) { update_motion_done(); osDelay(1); }
	  osDelay(100);

	  MoveToXYZ_mm(0, 100, 0);	// 흡착
	  HAL_GPIO_WritePin(GPIOB, GPIO_PIN_8, GPIO_PIN_RESET);	// pump on
	  while (move_in_progress) { update_motion_done(); osDelay(1); }
	  osDelay(100);

	  MoveToXYZ_mm(0, 100, 20);	// 수직 상승
	  while (move_in_progress) { update_motion_done(); osDelay(1); }
	  osDelay(100);

	  MoveToXYZ_mm(240, 273, 100);	// 적재위치로 이동
	  while (move_in_progress) { update_motion_done(); osDelay(1); }
	  osDelay(100);

	  MoveToXYZ_mm(240, 273, 40);	// 적재위치 직전 위치로 이동
	  while (move_in_progress) { update_motion_done(); osDelay(1); }
	  osDelay(100);

	  MoveToXYZ_mm(240, 273, 10);	// 적재

	  while (move_in_progress) { update_motion_done(); osDelay(1); }
	  HAL_GPIO_WritePin(GPIOB, GPIO_PIN_8, GPIO_PIN_SET);	// pump off
	  osDelay(100);

	  MoveToXYZ_mm(0, 100, 20);	// 원점
	  while (move_in_progress) { update_motion_done(); osDelay(1); }
	  osDelay(10000);

	  osDelay(1);
  }
  /* USER CODE END 5 */
}

void StartTask02(void *argument)
{
  /* USER CODE BEGIN StartTask02 */
  /* Infinite loop */
  for(;;)
  {
//	  if (uart_cmd_ready)
//	  {
//		  uart_cmd_ready = 0;
//
//		  MoveToXYZ_mm(uart_x, uart_y, uart_z);
//
//		  // 이동 완료까지 대기(너 코드 방식 유지)
//		  while (move_in_progress) {
//			  update_motion_done();
//			  osDelay(1);
//		  }
//	  }
	  osDelay(1);
  }
  /* USER CODE END StartTask02 */
}

 /* MPU Configuration */

void MPU_Config(void)
{
  MPU_Region_InitTypeDef MPU_InitStruct = {0};

  /* Disables the MPU */
  HAL_MPU_Disable();

  /** Initializes and configures the Region and the memory to be protected
  */
  MPU_InitStruct.Enable = MPU_REGION_ENABLE;
  MPU_InitStruct.Number = MPU_REGION_NUMBER0;
  MPU_InitStruct.BaseAddress = 0x0;
  MPU_InitStruct.Size = MPU_REGION_SIZE_4GB;
  MPU_InitStruct.SubRegionDisable = 0x87;
  MPU_InitStruct.TypeExtField = MPU_TEX_LEVEL0;
  MPU_InitStruct.AccessPermission = MPU_REGION_NO_ACCESS;
  MPU_InitStruct.DisableExec = MPU_INSTRUCTION_ACCESS_DISABLE;
  MPU_InitStruct.IsShareable = MPU_ACCESS_SHAREABLE;
  MPU_InitStruct.IsCacheable = MPU_ACCESS_NOT_CACHEABLE;
  MPU_InitStruct.IsBufferable = MPU_ACCESS_NOT_BUFFERABLE;

  HAL_MPU_ConfigRegion(&MPU_InitStruct);
  /* Enables the MPU */
  HAL_MPU_Enable(MPU_PRIVILEGED_DEFAULT);

}

void HAL_TIM_PeriodElapsedCallback(TIM_HandleTypeDef *htim)
{
  if (htim->Instance == TIM6) {
    HAL_IncTick();
  }
  /* USER CODE BEGIN Callback 1 */
  /* x, y, z 좌표*/
	// ----- Z (TIM2) -----
	if (htim->Instance == TIM2 && tim2_running)
	{
		step_count_tim2++;
//		ramp_update(&ramp_z, step_count_tim2, &htim2);
		ramp_update_fast(&ramp_z, step_count_tim2, &htim2);

		if (step_count_tim2 >= step_target_tim2)
		{
			tim2_running = 0U;
			HAL_TIM_Base_Stop_IT(&htim2);
			HAL_TIM_PWM_Stop(&htim2, TIM_CHANNEL_1);
		}
	    return;
	}
	// ----- Y (TIM3) -----
	if (htim->Instance == TIM3 && tim3_running)
	{
		step_count_tim3++;
//		ramp_update(&ramp_y, step_count_tim3, &htim3);
		ramp_update_fast(&ramp_y, step_count_tim3, &htim3);
//		tim_set_arr_ccr50(&htim5, ramp_y.arr_cur);   // ✅ Y2도 같은 ARR로 강제 동기

		if (step_count_tim3 >= step_target_tim3)
		{
			tim3_running = 0U;
			HAL_TIM_Base_Stop_IT(&htim3);
			HAL_TIM_PWM_Stop(&htim3, TIM_CHANNEL_1);
		}
		return;
	}

	// ----- X (TIM4) -----
	if (htim->Instance == TIM4 && tim4_running)
	{
		step_count_tim4++;
//		ramp_update(&ramp_x, step_count_tim4, &htim4);
		ramp_update_fast(&ramp_x, step_count_tim4, &htim4);

		if (step_count_tim4 >= step_target_tim4)
		{
			tim4_running = 0U;
			HAL_TIM_Base_Stop_IT(&htim4);
			HAL_TIM_PWM_Stop(&htim4, TIM_CHANNEL_1);
		}
	    return;
	}

	// ----- Y (TIM5) -----
	if (htim->Instance == TIM5 && tim5_running)
	{
		step_count_tim5++;
//		ramp_update(&ramp_y, step_count_tim5, &htim5);
		ramp_update_fast(&ramp_y, step_count_tim5, &htim5);

	    // 램프 계산은 TIM3에서만 했으니 여기선 종료만
	    if (step_count_tim5 >= step_target_tim5)
		{
			tim5_running = 0;
			HAL_TIM_Base_Stop_IT(&htim5);
			HAL_TIM_PWM_Stop(&htim5, TIM_CHANNEL_1);
		}
	    return;
	}
  /* USER CODE END Callback 1 */
}

void Error_Handler(void)
{
  __disable_irq();
  while (1)
  {
  }
}
